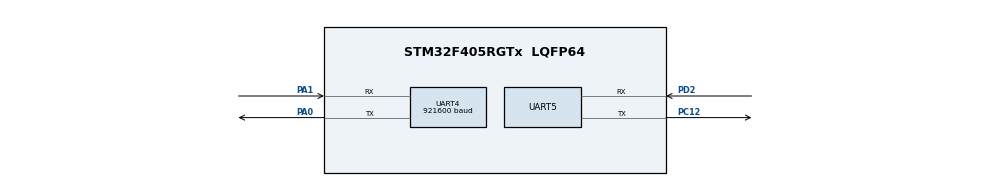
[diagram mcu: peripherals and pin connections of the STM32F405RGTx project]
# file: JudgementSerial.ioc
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Dma.Request0=UART5_RX
Dma.Request1=UART5_TX
Dma.Request2=UART4_RX
Dma.Request3=UART4_TX
Dma.UART4_RX.2.Direction=DMA_PERIPH_TO_MEMORY
Dma.UART4_RX.2.FIFOMode=DMA_FIFOMODE_DISABLE
Dma.UART4_RX.2.Instance=DMA1_Stream2
Dma.UART4_RX.2.MemDataAlignment=DMA_MDATAALIGN_BYTE
Dma.UART4_RX.2.MemInc=DMA_MINC_ENABLE
Dma.UART4_RX.2.Mode=DMA_NORMAL
Dma.UART4_RX.2.PeriphDataAlignment=DMA_PDATAALIGN_BYTE
Dma.UART4_RX.2.PeriphInc=DMA_PINC_DISABLE
Dma.UART4_RX.2.Priority=DMA_PRIORITY_MEDIUM
Dma.UART4_TX.3.Direction=DMA_MEMORY_TO_PERIPH
Dma.UART4_TX.3.FIFOMode=DMA_FIFOMODE_DISABLE
Dma.UART4_TX.3.Instance=DMA1_Stream4
Dma.UART4_TX.3.MemDataAlignment=DMA_MDATAALIGN_BYTE
Dma.UART4_TX.3.MemInc=DMA_MINC_ENABLE
Dma.UART4_TX.3.Mode=DMA_NORMAL
Dma.UART4_TX.3.PeriphDataAlignment=DMA_PDATAALIGN_BYTE
Dma.UART4_TX.3.PeriphInc=DMA_PINC_DISABLE
Dma.UART4_TX.3.Priority=DMA_PRIORITY_MEDIUM
Dma.UART5_RX.0.Direction=DMA_PERIPH_TO_MEMORY
Dma.UART5_RX.0.FIFOMode=DMA_FIFOMODE_DISABLE
Dma.UART5_RX.0.Instance=DMA1_Stream0
Dma.UART5_RX.0.MemDataAlignment=DMA_MDATAALIGN_BYTE
Dma.UART5_RX.0.MemInc=DMA_MINC_ENABLE
Dma.UART5_RX.0.Mode=DMA_NORMAL
Dma.UART5_RX.0.PeriphDataAlignment=DMA_PDATAALIGN_BYTE
Dma.UART5_RX.0.PeriphInc=DMA_PINC_DISABLE
Dma.UART5_RX.0.Priority=DMA_PRIORITY_MEDIUM
Dma.UART5_TX.1.Direction=DMA_MEMORY_TO_PERIPH
Dma.UART5_TX.1.FIFOMode=DMA_FIFOMODE_DISABLE
Dma.UART5_TX.1.Instance=DMA1_Stream7
Dma.UART5_TX.1.MemDataAlignment=DMA_MDATAALIGN_BYTE
Dma.UART5_TX.1.MemInc=DMA_MINC_ENABLE
Dma.UART5_TX.1.Mode=DMA_NORMAL
Dma.UART5_TX.1.PeriphDataAlignment=DMA_PDATAALIGN_BYTE
Dma.UART5_TX.1.PeriphInc=DMA_PINC_DISABLE
Dma.UART5_TX.1.Priority=DMA_PRIORITY_MEDIUM
FREERTOS.INCLUDE_eTaskGetState=0
FREERTOS.INCLUDE_vTaskDelayUntil=1
FREERTOS.Tasks01=LED,-2,64,LEDTask,Default,NULL,Dynamic,NULL,NULL
FREERTOS.configMAX_PRIORITIES=7
FREERTOS.configMAX_TASK_NAME_LEN=20
FREERTOS.configMINIMAL_STACK_SIZE=64
FREERTOS.configTOTAL_HEAP_SIZE=15360
FREERTOS.configUSE_TIMERS=1
Mcu.Family=STM32F4
Mcu.Name=STM32F405RGTx
Mcu.Package=LQFP64
NVIC.DMA1_Stream0_IRQn=true\:10\:0\:true\:false\:true\:true\:false
NVIC.DMA1_Stream2_IRQn=true\:5\:0\:false\:false\:true\:true\:false
NVIC.DMA1_Stream4_IRQn=true\:5\:0\:false\:false\:true\:true\:false
NVIC.DMA1_Stream7_IRQn=true\:10\:0\:true\:false\:true\:true\:false
NVIC.PriorityGroup=NVIC_PRIORITYGROUP_4
NVIC.TIM5_IRQn=true\:0\:0\:false\:false\:true\:false\:false
NVIC.TimeBase=TIM5_IRQn
NVIC.TimeBaseIP=TIM5
NVIC.UART4_IRQn=true\:7\:0\:true\:false\:true\:true\:true
NVIC.UART5_IRQn=true\:6\:0\:true\:false\:true\:true\:true
PA0-WKUP.Mode=Asynchronous
PA0-WKUP.Signal=UART4_TX
PA1.Mode=Asynchronous
PA1.Signal=UART4_RX
PA13.Mode=Serial_Wire
PA13.Signal=SYS_JTMS-SWDIO
PA14.Mode=Serial_Wire
PA14.Signal=SYS_JTCK-SWCLK
PC12.Mode=Asynchronous
PC12.Signal=UART5_TX
PD2.Mode=Asynchronous
PD2.Signal=UART5_RX
PH0-OSC_IN.Mode=HSE-External-Oscillator
PH0-OSC_IN.Signal=RCC_OSC_IN
PH1-OSC_OUT.Mode=HSE-External-Oscillator
PH1-OSC_OUT.Signal=RCC_OSC_OUT
ProjectManager.HeapSize=0x200
ProjectManager.StackSize=0x400
ProjectManager.TargetToolchain=MDK-ARM V5
RCC.48MHZClocksFreq_Value=84000000
RCC.AHBFreq_Value=168000000
RCC.APB1CLKDivider=RCC_HCLK_DIV4
RCC.APB1Freq_Value=42000000
RCC.APB1TimFreq_Value=84000000
RCC.APB2CLKDivider=RCC_HCLK_DIV2
RCC.APB2Freq_Value=84000000
RCC.APB2TimFreq_Value=168000000
RCC.CortexFreq_Value=168000000
RCC.HCLKFreq_Value=168000000
RCC.HSE_VALUE=25000000
RCC.HSI_VALUE=16000000
RCC.LSE_VALUE=32768
RCC.PLLM=25
RCC.PLLN=336
RCC.PLLSourceVirtual=RCC_PLLSOURCE_HSE
RCC.SYSCLKFreq_VALUE=168000000
RCC.SYSCLKSource=RCC_SYSCLKSOURCE_PLLCLK
RCC.VCOOutputFreq_Value=336000000
UART4.BaudRate=921600
UART4.VirtualMode=Asynchronous
UART5.VirtualMode=Asynchronous
VP_FREERTOS_VS_ENABLE.Mode=Enabled
VP_SYS_VS_tim5.Mode=TIM5
board=JudgementSerial

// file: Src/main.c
/**
  ******************************************************************************
  * File Name          : main.c
  * Description        : Main program body
  ******************************************************************************
  * This notice applies to any and all portions of this file
  * that are not between comment pairs USER CODE BEGIN and
  * USER CODE END. Other portions of this file, whether
  * inserted by the user or by software development tools
  * are owned by their respective copyright owners.
  *
  * Copyright (c) 2018 STMicroelectronics International N.V.
  * All rights reserved.
  *
  * Redistribution and use in source and binary forms, with or without
  * modification, are permitted, provided that the following conditions are met:
  *
  * 1. Redistribution of source code must retain the above copyright notice,
  *    this list of conditions and the following disclaimer.
  * 2. Redistributions in binary form must reproduce the above copyright notice,
  *    this list of conditions and the following disclaimer in the documentation
  *    and/or other materials provided with the distribution.
  * 3. Neither the name of STMicroelectronics nor the names of other
  *    contributors to this software may be used to endorse or promote products
  *    derived from this software without specific written permission.
  * 4. This software, including modifications and/or derivative works of this
  *    software, must execute solely and exclusively on microcontroller or
  *    microprocessor devices manufactured by or for STMicroelectronics.
  * 5. Redistribution and use of this software other than as permitted under
  *    this license is void and will automatically terminate your rights under
  *    this license.
  *
  * THIS SOFTWARE IS PROVIDED BY STMICROELECTRONICS AND CONTRIBUTORS "AS IS"
  * AND ANY EXPRESS, IMPLIED OR STATUTORY WARRANTIES, INCLUDING, BUT NOT
  * LIMITED TO, THE IMPLIED WARRANTIES OF MERCHANTABILITY, FITNESS FOR A
  * PARTICULAR PURPOSE AND NON-INFRINGEMENT OF THIRD PARTY INTELLECTUAL PROPERTY
  * RIGHTS ARE DISCLAIMED TO THE FULLEST EXTENT PERMITTED BY LAW. IN NO EVENT
  * SHALL STMICROELECTRONICS OR CONTRIBUTORS BE LIABLE FOR ANY DIRECT, INDIRECT,
  * INCIDENTAL, SPECIAL, EXEMPLARY, OR CONSEQUENTIAL DAMAGES (INCLUDING, BUT NOT
  * LIMITED TO, PROCUREMENT OF SUBSTITUTE GOODS OR SERVICES; LOSS OF USE, DATA,
  * OR PROFITS; OR BUSINESS INTERRUPTION) HOWEVER CAUSED AND ON ANY THEORY OF
  * LIABILITY, WHETHER IN CONTRACT, STRICT LIABILITY, OR TORT (INCLUDING
  * NEGLIGENCE OR OTHERWISE) ARISING IN ANY WAY OUT OF THE USE OF THIS SOFTWARE,
  * EVEN IF ADVISED OF THE POSSIBILITY OF SUCH DAMAGE.
  *
  ******************************************************************************
  */

#include "main.h"
#include "stm32f4xx_hal.h"
#include "cmsis_os.h"
#include "dma.h"
#include "usart.h"
#include "gpio.h"

/* USER CODE BEGIN Includes */
#include "task_communicate.h"
/* USER CODE END Includes */

/* USER CODE BEGIN PV */
/* Private variables ---------------------------------------------------------*/

/* USER CODE END PV */

void SystemClock_Config(void);
void MX_FREERTOS_Init(void);

/* USER CODE BEGIN PFP */
/* Private function prototypes -----------------------------------------------*/

/* USER CODE END PFP */

int main(void)
{

  /* MCU Configuration----------------------------------------------------------*/

  /* Reset of all peripherals, Initializes the Flash interface and the Systick. */
  HAL_Init();

  /* Configure the system clock */
  SystemClock_Config();

  /* Initialize all configured peripherals */
  MX_GPIO_Init();
  MX_DMA_Init();
  MX_UART4_Init();
  MX_UART5_Init();

  /* USER CODE BEGIN 2 */
	communicate_param_init();
  /* USER CODE END 2 */

  /* Call init function for freertos objects (in freertos.c) */
  MX_FREERTOS_Init();

  /* Start scheduler */
  osKernelStart();

  /* We should never get here as control is now taken by the scheduler */

  /* Infinite loop */
  while (1)
  {

  }

}

/** System Clock Configuration
*/
void SystemClock_Config(void)
{

  LL_FLASH_SetLatency(LL_FLASH_LATENCY_5);

  if(LL_FLASH_GetLatency() != LL_FLASH_LATENCY_5)
  {
  Error_Handler();
  }
  LL_PWR_SetRegulVoltageScaling(LL_PWR_REGU_VOLTAGE_SCALE1);

  LL_RCC_HSE_Enable();

   /* Wait till HSE is ready */
  while(LL_RCC_HSE_IsReady() != 1)
  {

  }
  LL_RCC_PLL_ConfigDomain_SYS(LL_RCC_PLLSOURCE_HSE, LL_RCC_PLLM_DIV_25, 336, LL_RCC_PLLP_DIV_2);

  LL_RCC_PLL_Enable();

   /* Wait till PLL is ready */
  while(LL_RCC_PLL_IsReady() != 1)
  {

  }
  LL_RCC_SetAHBPrescaler(LL_RCC_SYSCLK_DIV_1);

  LL_RCC_SetAPB1Prescaler(LL_RCC_APB1_DIV_4);

  LL_RCC_SetAPB2Prescaler(LL_RCC_APB2_DIV_2);

  LL_RCC_SetSysClkSource(LL_RCC_SYS_CLKSOURCE_PLL);

   /* Wait till System clock is ready */
  while(LL_RCC_GetSysClkSource() != LL_RCC_SYS_CLKSOURCE_STATUS_PLL)
  {

  }
  LL_Init1msTick(168000000);

  LL_SYSTICK_SetClkSource(LL_SYSTICK_CLKSOURCE_HCLK);

  LL_SetSystemCoreClock(168000000);

  /* SysTick_IRQn interrupt configuration */
  NVIC_SetPriority(SysTick_IRQn, NVIC_EncodePriority(NVIC_GetPriorityGrouping(),15, 0));
}

void HAL_TIM_PeriodElapsedCallback(TIM_HandleTypeDef *htim)
{
  if (htim->Instance == TIM5) {
    HAL_IncTick();
  }
}

void _Error_Handler(char * file, int line)
{
  while(1)
  {
  }
}

/************************ (C) COPYRIGHT STMicroelectronics *****END OF FILE****/

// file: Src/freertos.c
/**
  ******************************************************************************
  * File Name          : freertos.c
  * Description        : Code for freertos applications
  ******************************************************************************
  * This notice applies to any and all portions of this file
  * that are not between comment pairs USER CODE BEGIN and
  * USER CODE END. Other portions of this file, whether
  * inserted by the user or by software development tools
  * are owned by their respective copyright owners.
  *
  * Copyright (c) 2018 STMicroelectronics International N.V.
  * All rights reserved.
  *
  * Redistribution and use in source and binary forms, with or without
  * modification, are permitted, provided that the following conditions are met:
  *
  * 1. Redistribution of source code must retain the above copyright notice,
  *    this list of conditions and the following disclaimer.
  * 2. Redistributions in binary form must reproduce the above copyright notice,
  *    this list of conditions and the following disclaimer in the documentation
  *    and/or other materials provided with the distribution.
  * 3. Neither the name of STMicroelectronics nor the names of other
  *    contributors to this software may be used to endorse or promote products
  *    derived from this software without specific written permission.
  * 4. This software, including modifications and/or derivative works of this
  *    software, must execute solely and exclusively on microcontroller or
  *    microprocessor devices manufactured by or for STMicroelectronics.
  * 5. Redistribution and use of this software other than as permitted under
  *    this license is void and will automatically terminate your rights under
  *    this license.
  *
  * THIS SOFTWARE IS PROVIDED BY STMICROELECTRONICS AND CONTRIBUTORS "AS IS"
  * AND ANY EXPRESS, IMPLIED OR STATUTORY WARRANTIES, INCLUDING, BUT NOT
  * LIMITED TO, THE IMPLIED WARRANTIES OF MERCHANTABILITY, FITNESS FOR A
  * PARTICULAR PURPOSE AND NON-INFRINGEMENT OF THIRD PARTY INTELLECTUAL PROPERTY
  * RIGHTS ARE DISCLAIMED TO THE FULLEST EXTENT PERMITTED BY LAW. IN NO EVENT
  * SHALL STMICROELECTRONICS OR CONTRIBUTORS BE LIABLE FOR ANY DIRECT, INDIRECT,
  * INCIDENTAL, SPECIAL, EXEMPLARY, OR CONSEQUENTIAL DAMAGES (INCLUDING, BUT NOT
  * LIMITED TO, PROCUREMENT OF SUBSTITUTE GOODS OR SERVICES; LOSS OF USE, DATA,
  * OR PROFITS; OR BUSINESS INTERRUPTION) HOWEVER CAUSED AND ON ANY THEORY OF
  * LIABILITY, WHETHER IN CONTRACT, STRICT LIABILITY, OR TORT (INCLUDING
  * NEGLIGENCE OR OTHERWISE) ARISING IN ANY WAY OUT OF THE USE OF THIS SOFTWARE,
  * EVEN IF ADVISED OF THE POSSIBILITY OF SUCH DAMAGE.
  *
  ******************************************************************************
  */

#include "FreeRTOS.h"
#include "task.h"
#include "cmsis_os.h"

/* USER CODE BEGIN Includes */
#include "task_communicate.h"
/* USER CODE END Includes */

osThreadId LEDHandle;

/* USER CODE BEGIN Variables */

osThreadId pc_unpack_task_t;
osThreadId judge_unpack_task_t;
client_show_data_t client_show_data;
GimbalMode gimbal_mode_data;
/* USER CODE END Variables */

void LEDTask(void const * argument);

void MX_FREERTOS_Init(void); /* (MISRA C 2004 rule 8.1) */

/* Hook prototypes */

/* Init FreeRTOS */

void MX_FREERTOS_Init(void) {

  /* Create the thread(s) */
  /* definition and creation of LED */
  osThreadDef(LED, LEDTask, osPriorityLow, 0, 1024);
  LEDHandle = osThreadCreate(osThread(LED), NULL);

  /* USER CODE BEGIN RTOS_THREADS */
  /* add threads, ... */
	osThreadDef(pcunpackTask, pc_unpack_task, osPriorityNormal, 0, 512);
	pc_unpack_task_t = osThreadCreate(osThread(pcunpackTask), NULL);

	osThreadDef(unpackTask, judge_unpack_task, osPriorityNormal, 0, 512);
  judge_unpack_task_t = osThreadCreate(osThread(unpackTask), NULL);
  /* USER CODE END RTOS_THREADS */

}

/* LEDTask function */
void LEDTask(void const * argument)
{

  /* USER CODE BEGIN LEDTask */
	osDelay(1000);
  /* Infinite loop */
  for(;;)
  {
		gimbal_mode_data.mode = 0;
		client_show_data.data1+=1;
		client_show_data.data2+=2;
		client_show_data.data3+=3;
		client_show_data.data4=!client_show_data.data4;
		data_packet_pack(INFANTRY_SHOOT_MODE_ID, (uint8_t *)&gimbal_mode_data,sizeof(gimbal_mode_data), UP_REG_ID);
		osSignalSet(pc_unpack_task_t, UART_TX_SIGNAL);
    osDelay(100);
  }
  /* USER CODE END LEDTask */
}

/************************ (C) COPYRIGHT STMicroelectronics *****END OF FILE****/
